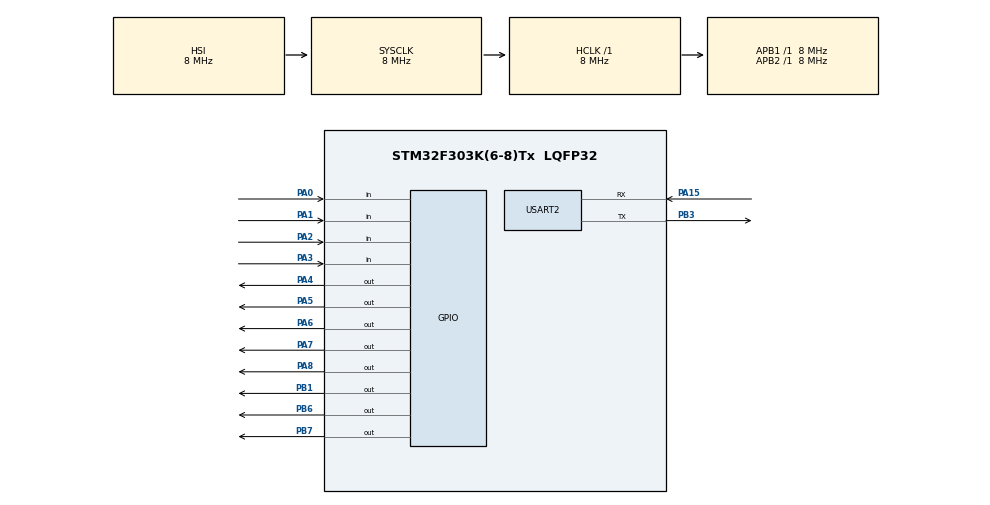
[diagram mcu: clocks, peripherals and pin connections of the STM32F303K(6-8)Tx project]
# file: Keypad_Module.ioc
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Mcu.Family=STM32F3
Mcu.Name=STM32F303K(6-8)Tx
Mcu.Package=LQFP32
NVIC.PriorityGroup=NVIC_PRIORITYGROUP_4
PA0.GPIO_PuPd=GPIO_PULLUP
PA0.Signal=GPIO_Input
PA1.GPIO_PuPd=GPIO_PULLUP
PA1.Signal=GPIO_Input
PA13.Mode=Serial_Wire
PA13.Signal=SYS_JTMS-SWDIO
PA14.Mode=Serial_Wire
PA14.Signal=SYS_JTCK-SWCLK
PA15.Mode=Asynchronous
PA15.Signal=USART2_RX
PA2.GPIO_PuPd=GPIO_PULLUP
PA2.Signal=GPIO_Input
PA3.GPIO_PuPd=GPIO_PULLUP
PA3.Signal=GPIO_Input
PA4.Signal=GPIO_Output
PA5.Signal=GPIO_Output
PA6.Signal=GPIO_Output
PA7.Signal=GPIO_Output
PA8.GPIO_PuPd=GPIO_NOPULL
PA8.PinState=GPIO_PIN_RESET
PA8.Signal=GPIO_Output
PB1.GPIO_PuPd=GPIO_NOPULL
PB1.PinState=GPIO_PIN_RESET
PB1.Signal=GPIO_Output
PB3.Mode=Asynchronous
PB3.Signal=USART2_TX
PB6.GPIO_PuPd=GPIO_NOPULL
PB6.Signal=GPIO_Output
PB7.GPIO_PuPd=GPIO_NOPULL
PB7.Signal=GPIO_Output
ProjectManager.HeapSize=0x200
ProjectManager.StackSize=0x400
ProjectManager.TargetToolchain=STM32CubeIDE
RCC.AHBFreq_Value=8000000
RCC.APB1Freq_Value=8000000
RCC.APB2Freq_Value=8000000
RCC.CortexFreq_Value=8000000
RCC.HSE_VALUE=8000000
RCC.HSI_VALUE=8000000
RCC.SYSCLKFreq_VALUE=8000000
USART2.VirtualMode-Asynchronous=VM_ASYNC
board=custom

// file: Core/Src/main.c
/* USER CODE BEGIN Header */
/**
  ******************************************************************************
  * @file           : main.c
  * @brief          : Main program body
  ******************************************************************************
  * @attention
  *
  * Copyright (c) 2024 STMicroelectronics.
  * All rights reserved.
  *
  * This software is licensed under terms that can be found in the LICENSE file
  * in the root directory of this software component.
  * If no LICENSE file comes with this software, it is provided AS-IS.
  *
  ******************************************************************************
  */
/* USER CODE END Header */
#include "main.h"

/* USER CODE BEGIN Includes */
#include <stdio.h>
#include <string.h>
/* USER CODE END Includes */

UART_HandleTypeDef huart2;

void SystemClock_Config(void);
static void MX_GPIO_Init(void);
static void MX_USART2_UART_Init(void);

/* USER CODE BEGIN 0 */
char read_keypad (void)
{
	/* Make ROW 1 LOW and all other ROWs HIGH */
	HAL_GPIO_WritePin (GPIOA, GPIO_PIN_7, GPIO_PIN_RESET); //Pull the (GPIOA, GPIO_PIN_7)low
	HAL_GPIO_WritePin (GPIOA, GPIO_PIN_6, GPIO_PIN_SET);  // Pull the PA6 High
	HAL_GPIO_WritePin (GPIOA, GPIO_PIN_5, GPIO_PIN_SET);  // Pull the PA5 High
	HAL_GPIO_WritePin (GPIOA, GPIO_PIN_4, GPIO_PIN_SET);  // Pull the PA4 High

	if (!(HAL_GPIO_ReadPin(GPIOA, GPIO_PIN_3)))  // if the Col 1 is low
	{
		while (!(HAL_GPIO_ReadPin (GPIOA, GPIO_PIN_3)));   // wait till the button is pressed
		return '1';
	}

	if (!(HAL_GPIO_ReadPin (GPIOA, GPIO_PIN_2)))   // if the Col 2 is low
	{
		while (!(HAL_GPIO_ReadPin (GPIOA, GPIO_PIN_3)));   // wait till the button is pressed
		return '2';
	}

	if (!(HAL_GPIO_ReadPin (GPIOA, GPIO_PIN_1)))   // if the Col 3 is low
	{
		while (!(HAL_GPIO_ReadPin (GPIOA, GPIO_PIN_1)));   // wait till the button is pressed
		return '3';
	}

	if (!(HAL_GPIO_ReadPin (GPIOA, GPIO_PIN_0)))   // if the Col 4 is low
	{
		while (!(HAL_GPIO_ReadPin (GPIOA, GPIO_PIN_0)));   // wait till the button is pressed
		return 'A';
	}

	/* Make ROW 2 LOW and all other ROWs HIGH */
	HAL_GPIO_WritePin (GPIOA, GPIO_PIN_7, GPIO_PIN_SET);  //Pull the (GPIOA, GPIO_PIN_7)low
	HAL_GPIO_WritePin (GPIOA, GPIO_PIN_6, GPIO_PIN_RESET);  // Pull the PA6 High
	HAL_GPIO_WritePin (GPIOA, GPIO_PIN_5, GPIO_PIN_SET);  // Pull the PA5 High
	HAL_GPIO_WritePin (GPIOA, GPIO_PIN_4, GPIO_PIN_SET);  // Pull the PA4 High

	if (!(HAL_GPIO_ReadPin (GPIOA, GPIO_PIN_3)))   // if the Col 1 is low
	{
		while (!(HAL_GPIO_ReadPin (GPIOA, GPIO_PIN_3)));   // wait till the button is pressed
		return '4';
	}

	if (!(HAL_GPIO_ReadPin (GPIOA, GPIO_PIN_2)))   // if the Col 2 is low
	{
		while (!(HAL_GPIO_ReadPin (GPIOA, GPIO_PIN_2)));   // wait till the button is pressed
		return '5';
	}

	if (!(HAL_GPIO_ReadPin (GPIOA, GPIO_PIN_1)))   // if the Col 3 is low
	{
		while (!(HAL_GPIO_ReadPin (GPIOA, GPIO_PIN_1)));   // wait till the button is pressed
		return '6';
	}

	if (!(HAL_GPIO_ReadPin (GPIOA, GPIO_PIN_0)))   // if the Col 4 is low
	{
		while (!(HAL_GPIO_ReadPin (GPIOA, GPIO_PIN_3)));   // wait till the button is pressed
		return 'B';
	}

	/* Make ROW 3 LOW and all other ROWs HIGH */
	HAL_GPIO_WritePin (GPIOA, GPIO_PIN_7, GPIO_PIN_SET);  //Pull the (GPIOA, GPIO_PIN_7)low
	HAL_GPIO_WritePin (GPIOA, GPIO_PIN_6, GPIO_PIN_SET);  // Pull the PA6 High
	HAL_GPIO_WritePin (GPIOA, GPIO_PIN_5, GPIO_PIN_RESET);  // Pull the PA5 High
	HAL_GPIO_WritePin (GPIOA, GPIO_PIN_4, GPIO_PIN_SET);  // Pull the PA4 High

	if (!(HAL_GPIO_ReadPin (GPIOA, GPIO_PIN_3)))   // if the Col 1 is low
	{
		while (!(HAL_GPIO_ReadPin (GPIOA, GPIO_PIN_3)));   // wait till the button is pressed
		return '7';
	}

	if (!(HAL_GPIO_ReadPin (GPIOA, GPIO_PIN_2)))   // if the Col 2 is low
	{
		while (!(HAL_GPIO_ReadPin (GPIOA, GPIO_PIN_2)));   // wait till the button is pressed
		return '8';
	}

	if (!(HAL_GPIO_ReadPin (GPIOA, GPIO_PIN_1)))   // if the Col 3 is low
	{
		while (!(HAL_GPIO_ReadPin (GPIOA, GPIO_PIN_1)));   // wait till the button is pressed
		return '9';
	}

	if (!(HAL_GPIO_ReadPin (GPIOA, GPIO_PIN_0)))   // if the Col 4 is low
	{
		while (!(HAL_GPIO_ReadPin (GPIOA, GPIO_PIN_0)));   // wait till the button is pressed
		return 'C';
	}

	/* Make ROW 4 LOW and all other ROWs HIGH */
	HAL_GPIO_WritePin (GPIOA, GPIO_PIN_7, GPIO_PIN_SET);  //Pull the (GPIOA, GPIO_PIN_7)low
	HAL_GPIO_WritePin (GPIOA, GPIO_PIN_6, GPIO_PIN_SET);  // Pull the PA6 High
	HAL_GPIO_WritePin (GPIOA, GPIO_PIN_5, GPIO_PIN_SET);  // Pull the PA5 High
	HAL_GPIO_WritePin (GPIOA, GPIO_PIN_4, GPIO_PIN_RESET);  // Pull the PA4 High

	if (!(HAL_GPIO_ReadPin (GPIOA, GPIO_PIN_3)))   // if the Col 1 is low
	{
		while (!(HAL_GPIO_ReadPin (GPIOA, GPIO_PIN_3)));   // wait till the button is pressed
		return '*';
	}

	if (!(HAL_GPIO_ReadPin (GPIOA, GPIO_PIN_2)))   // if the Col 2 is low
	{
		while (!(HAL_GPIO_ReadPin (GPIOA, GPIO_PIN_2)));   // wait till the button is pressed
		return '0';
	}

	if (!(HAL_GPIO_ReadPin (GPIOA, GPIO_PIN_1)))   // if the Col 3 is low
	{
		while (!(HAL_GPIO_ReadPin (GPIOA, GPIO_PIN_1)));   // wait till the button is pressed
		return '#';
	}

	if (!(HAL_GPIO_ReadPin (GPIOA, GPIO_PIN_0)))   // if the Col 4 is low
	{
		while (!(HAL_GPIO_ReadPin (GPIOA, GPIO_PIN_3)));   // wait till the button is pressed
		return 'D';
	}

	return 0x11;  // /if nothing is pressed

}

/* USER CODE END 0 */

int main(void)
{

  /* MCU Configuration--------------------------------------------------------*/

  /* Reset of all peripherals, Initializes the Flash interface and the Systick. */
  HAL_Init();

  /* Configure the system clock */
  SystemClock_Config();

  /* Initialize all configured peripherals */
  MX_GPIO_Init();
  MX_USART2_UART_Init();
  /* USER CODE BEGIN 2 */
  char key = 0x11;
  char message[4] = "0000";
  int count=0;
  int releaseflag=1;
  /* USER CODE END 2 */

  /* Infinite loop */
  while (1)
  {

    /* USER CODE BEGIN 3 */
	  key = read_keypad();
	  if (count<4 & key!='*' & key!='\021' & releaseflag==1){
		  message[count]=key;
		  count+=1;
		  releaseflag=0;
	  }
	  else if (key=='*'){
		  message[0]='0';
		  message[1]='0';
		  message[2]='0';
		  message[3]='0';
		  count=0;
	  }
	  else if (count==4){
		  if(message[0]=='2' & message[1]=='B' & message[2]=='0' & message[3]=='9'){
			  //Send message to servo to open door
			  HAL_GPIO_WritePin (GPIOB, GPIO_PIN_7, GPIO_PIN_SET);
			  HAL_Delay(1000);
			  message[0]='0';
			  message[1]='0';
			  message[2]='0';
			  message[3]='0';
			  count=0;
			  HAL_GPIO_WritePin (GPIOB, GPIO_PIN_7, GPIO_PIN_RESET);
		  }
		  else if(message[0]=='D' & message[1]=='1' & message[2]=='A' & message[3]=='7'){
			  HAL_GPIO_WritePin (GPIOB, GPIO_PIN_6, GPIO_PIN_SET);
			  HAL_Delay(1000);
			  	  message[0]='0';
				  message[1]='0';
				  message[2]='0';
				  message[3]='0';
				  count=0;
				  HAL_GPIO_WritePin (GPIOB, GPIO_PIN_6, GPIO_PIN_RESET);
		  }
		  else if(message[0]=='3' & message[1]=='6' & message[2]=='5' & message[3]=='C'){
			  HAL_GPIO_WritePin (GPIOB, GPIO_PIN_1, GPIO_PIN_SET);
			  HAL_Delay(1000);
			  message[0]='0';
			  message[1]='0';
			  message[2]='0';
			  message[3]='0';
			  count=0;
			  HAL_GPIO_WritePin (GPIOB, GPIO_PIN_1, GPIO_PIN_RESET);
		  }
		  else{
			  HAL_GPIO_WritePin(GPIOA, GPIO_PIN_8, GPIO_PIN_SET);
			  HAL_Delay(1000);
			  message[0]='0';
			  message[1]='0';
			  message[2]='0';
			  message[3]='0';
			  count=0;
			  HAL_GPIO_WritePin (GPIOA, GPIO_PIN_8, GPIO_PIN_RESET);
		  }
	  }
	  else if (key=='\021'){
		  releaseflag=1;
		  HAL_Delay(100);
	  }else{
		  printf("Do Nothing");
	  }

  }
  /* USER CODE END 3 */
}

void SystemClock_Config(void)
{
  RCC_OscInitTypeDef RCC_OscInitStruct = {0};
  RCC_ClkInitTypeDef RCC_ClkInitStruct = {0};

  /** Initializes the RCC Oscillators according to the specified parameters
  * in the RCC_OscInitTypeDef structure.
  */
  RCC_OscInitStruct.OscillatorType = RCC_OSCILLATORTYPE_HSI;
  RCC_OscInitStruct.HSIState = RCC_HSI_ON;
  RCC_OscInitStruct.HSICalibrationValue = RCC_HSICALIBRATION_DEFAULT;
  RCC_OscInitStruct.PLL.PLLState = RCC_PLL_NONE;
  if (HAL_RCC_OscConfig(&RCC_OscInitStruct) != HAL_OK)
  {
    Error_Handler();
  }

  /** Initializes the CPU, AHB and APB buses clocks
  */
  RCC_ClkInitStruct.ClockType = RCC_CLOCKTYPE_HCLK|RCC_CLOCKTYPE_SYSCLK
                              |RCC_CLOCKTYPE_PCLK1|RCC_CLOCKTYPE_PCLK2;
  RCC_ClkInitStruct.SYSCLKSource = RCC_SYSCLKSOURCE_HSI;
  RCC_ClkInitStruct.AHBCLKDivider = RCC_SYSCLK_DIV1;
  RCC_ClkInitStruct.APB1CLKDivider = RCC_HCLK_DIV1;
  RCC_ClkInitStruct.APB2CLKDivider = RCC_HCLK_DIV1;

  if (HAL_RCC_ClockConfig(&RCC_ClkInitStruct, FLASH_LATENCY_0) != HAL_OK)
  {
    Error_Handler();
  }
}

static void MX_USART2_UART_Init(void)
{

  huart2.Instance = USART2;
  huart2.Init.BaudRate = 38400;
  huart2.Init.WordLength = UART_WORDLENGTH_8B;
  huart2.Init.StopBits = UART_STOPBITS_1;
  huart2.Init.Parity = UART_PARITY_NONE;
  huart2.Init.Mode = UART_MODE_TX_RX;
  huart2.Init.HwFlowCtl = UART_HWCONTROL_NONE;
  huart2.Init.OverSampling = UART_OVERSAMPLING_16;
  huart2.Init.OneBitSampling = UART_ONE_BIT_SAMPLE_DISABLE;
  huart2.AdvancedInit.AdvFeatureInit = UART_ADVFEATURE_NO_INIT;
  if (HAL_UART_Init(&huart2) != HAL_OK)
  {
    Error_Handler();
  }

}

static void MX_GPIO_Init(void)
{
  GPIO_InitTypeDef GPIO_InitStruct = {0};

  /* GPIO Ports Clock Enable */
  __HAL_RCC_GPIOA_CLK_ENABLE();
  __HAL_RCC_GPIOB_CLK_ENABLE();

  /*Configure GPIO pin Output Level */
  HAL_GPIO_WritePin(GPIOA, GPIO_PIN_4|GPIO_PIN_5|GPIO_PIN_6|GPIO_PIN_7
                          |GPIO_PIN_8, GPIO_PIN_RESET);

  /*Configure GPIO pin Output Level */
  HAL_GPIO_WritePin(GPIOB, GPIO_PIN_1|GPIO_PIN_6|GPIO_PIN_7, GPIO_PIN_RESET);

  /*Configure GPIO pins : PA0 PA1 PA2 PA3 */
  GPIO_InitStruct.Pin = GPIO_PIN_0|GPIO_PIN_1|GPIO_PIN_2|GPIO_PIN_3;
  GPIO_InitStruct.Mode = GPIO_MODE_INPUT;
  GPIO_InitStruct.Pull = GPIO_PULLUP;
  HAL_GPIO_Init(GPIOA, &GPIO_InitStruct);

  /*Configure GPIO pins : PA4 PA5 PA6 PA7
                           PA8 */
  GPIO_InitStruct.Pin = GPIO_PIN_4|GPIO_PIN_5|GPIO_PIN_6|GPIO_PIN_7
                          |GPIO_PIN_8;
  GPIO_InitStruct.Mode = GPIO_MODE_OUTPUT_PP;
  GPIO_InitStruct.Pull = GPIO_NOPULL;
  GPIO_InitStruct.Speed = GPIO_SPEED_FREQ_LOW;
  HAL_GPIO_Init(GPIOA, &GPIO_InitStruct);

  /*Configure GPIO pins : PB1 PB6 PB7 */
  GPIO_InitStruct.Pin = GPIO_PIN_1|GPIO_PIN_6|GPIO_PIN_7;
  GPIO_InitStruct.Mode = GPIO_MODE_OUTPUT_PP;
  GPIO_InitStruct.Pull = GPIO_NOPULL;
  GPIO_InitStruct.Speed = GPIO_SPEED_FREQ_LOW;
  HAL_GPIO_Init(GPIOB, &GPIO_InitStruct);

}

void Error_Handler(void)
{
  __disable_irq();
  while (1)
  {
  }
}
